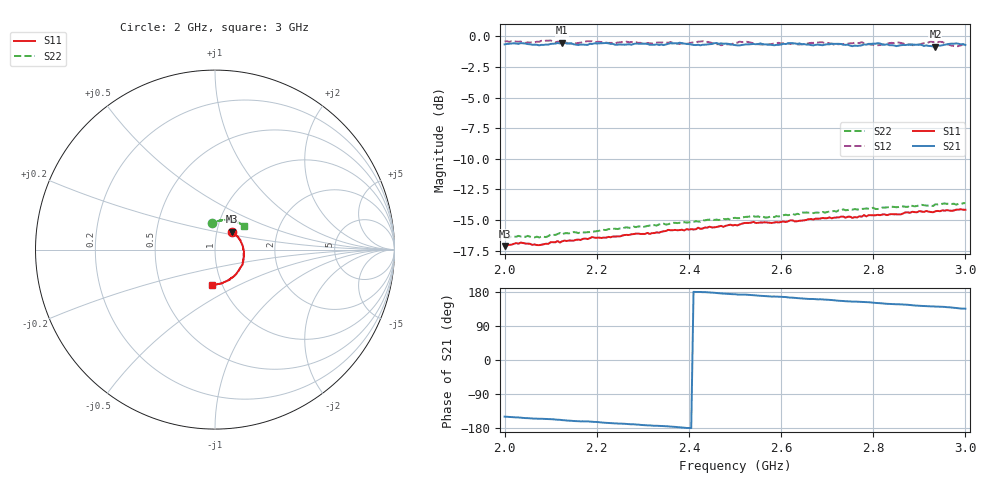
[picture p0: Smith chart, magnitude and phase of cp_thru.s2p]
!Agilent Technologies,E8364A,US41440144,A.06.04.32
!Agilent E8364A: A.06.04.32
!Date: Monday, February 05, 2018 12:04:14
!Correction: S11(Full 2 Port(1,2)) S21(Full 2 Port(1,2)) S12(Full 2 Port(1,2)) S22(Full 2 Port(1,2))
!S2P File: Measurements: S11, S21, S12, S22:
# Hz S  dB  R 50
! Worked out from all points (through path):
!   201 points, 2 GHz to 3 GHz, reference 50 ohm
!   highest |S21| = -0.52 dB at 2.125 GHz (marker M1); lowest = -0.8 dB at 2.935 GHz (marker M2)
!   group delay of S21, straight-line fit = 207 ps
!   lowest |S11| = -17.1 dB at 2 GHz (marker M3), VSWR 1.32, Z = 59.3 + j12.1 ohm
!   |S11| at or under -10 dB: start of sweep to end of sweep
!   |S22| runs from -16.4 to -13.6 dB; largest |S21 - S12| = 0.046
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2e9  -17.13 46.1  -0.67 -149.4  -0.42 -149.6  -16.43 97.0
2.075e9  -17.05 35.1  -0.74 -155.1  -0.45 -154.3  -16.42 90.9
2.1e9  -16.80 32.2  -0.63 -156.2  -0.34 -157.5  -16.19 90.1
2.125e9  -16.73 28.4  -0.52 -158.7  -0.53 -160.0  -16.18 87.4
2.17e9  -16.53 22.5  -0.68 -161.8  -0.47 -161.7  -16.01 84.4
2.22e9  -16.44 15.8  -0.55 -165.8  -0.52 -166.1  -15.81 82.0
2.335e9  -16.03 -0.4  -0.72 -173.9  -0.51 -174.2  -15.36 75.0
2.38e9  -15.82 -6.7  -0.52 -177.6  -0.63 -177.9  -15.22 71.7
2.43e9  -15.69 -13.0  -0.69 179.0  -0.40 178.6  -15.00 69.5
2.47e9  -15.48 -19.2  -0.58 175.6  -0.73 175.2  -14.96 66.7
2.5e9  -15.39 -23.6  -0.72 173.7  -0.52 174.1  -14.82 64.8
2.535e9  -15.21 -28.7  -0.65 171.5  -0.53 170.2  -14.67 63.0
2.62e9  -15.02 -41.3  -0.56 164.7  -0.63 164.6  -14.57 58.8
2.67e9  -14.96 -47.9  -0.75 161.0  -0.54 161.7  -14.43 55.9
2.775e9  -14.72 -62.6  -0.74 153.3  -0.48 152.8  -14.09 50.2
2.805e9  -14.61 -67.4  -0.61 150.6  -0.75 151.1  -14.10 48.8
2.835e9  -14.54 -71.7  -0.73 148.0  -0.56 150.0  -13.94 47.7
2.87e9  -14.37 -76.6  -0.72 146.3  -0.66 145.4  -13.92 45.3
2.91e9  -14.34 -83.0  -0.80 142.4  -0.57 144.8  -13.79 42.9
2.935e9  -14.28 -85.7  -0.84 141.3  -0.42 141.1  -13.70 41.9
2.97e9  -14.24 -90.8  -0.61 138.5  -0.77 137.9  -13.69 39.7
3e9  -14.16 -95.1  -0.71 135.4  -0.64 138.0  -13.61 38.6
